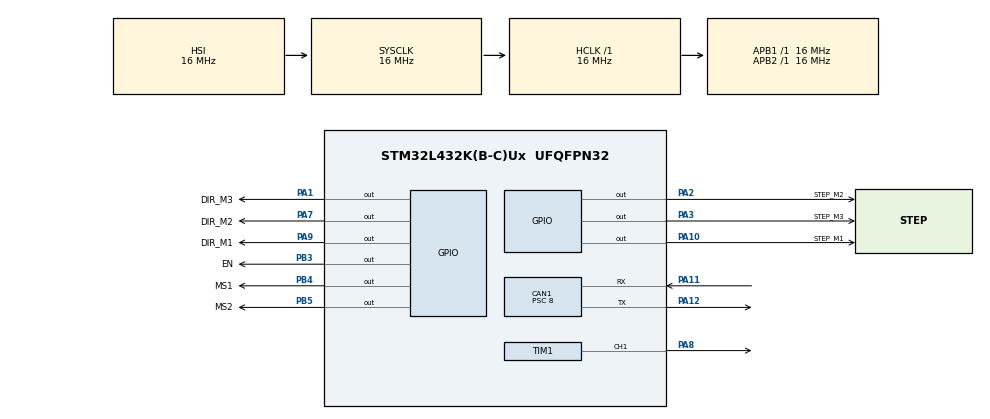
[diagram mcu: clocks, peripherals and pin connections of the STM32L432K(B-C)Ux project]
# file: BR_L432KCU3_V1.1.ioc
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CAN1.BS1=CAN_BS1_8TQ
CAN1.BS2=CAN_BS2_2TQ
CAN1.CalculateBaudRate=181818
CAN1.CalculateTimeBit=5500
CAN1.CalculateTimeQuantum=500.0
CAN1.Prescaler=8
Dma.Request0=TIM1_UP
Dma.TIM1_UP.0.Direction=DMA_MEMORY_TO_PERIPH
Dma.TIM1_UP.0.Instance=DMA1_Channel6
Dma.TIM1_UP.0.MemDataAlignment=DMA_MDATAALIGN_WORD
Dma.TIM1_UP.0.MemInc=DMA_MINC_ENABLE
Dma.TIM1_UP.0.Mode=DMA_NORMAL
Dma.TIM1_UP.0.PeriphDataAlignment=DMA_PDATAALIGN_WORD
Dma.TIM1_UP.0.PeriphInc=DMA_PINC_DISABLE
Dma.TIM1_UP.0.Priority=DMA_PRIORITY_LOW
Mcu.Family=STM32L4
Mcu.Name=STM32L432K(B-C)Ux
Mcu.Package=UFQFPN32
NVIC.CAN1_RX0_IRQn=true\:0\:0\:false\:false\:true\:true\:true\:true
NVIC.CAN1_RX1_IRQn=true\:0\:0\:false\:false\:true\:true\:true\:true
NVIC.CAN1_SCE_IRQn=true\:0\:0\:false\:false\:true\:true\:true\:true
NVIC.CAN1_TX_IRQn=true\:0\:0\:false\:false\:true\:true\:true\:true
NVIC.DMA1_Channel6_IRQn=true\:0\:0\:false\:false\:true\:false\:true\:true
NVIC.PriorityGroup=NVIC_PRIORITYGROUP_4
NVIC.TIM1_BRK_TIM15_IRQn=true\:0\:0\:false\:false\:true\:true\:true\:true
NVIC.TIM1_CC_IRQn=true\:0\:0\:false\:false\:true\:true\:true\:true
NVIC.TIM1_TRG_COM_IRQn=true\:0\:0\:false\:false\:true\:true\:true\:true
NVIC.TIM1_UP_TIM16_IRQn=true\:0\:0\:false\:false\:true\:true\:true\:true
PA1.GPIO_Label=DIR_M3
PA1.GPIO_ModeDefaultOutputPP=GPIO_MODE_OUTPUT_PP
PA1.GPIO_PuPd=GPIO_PULLUP
PA1.Signal=GPIO_Output
PA10.GPIO_Label=STEP_M1
PA10.GPIO_ModeDefaultOutputPP=GPIO_MODE_OUTPUT_PP
PA10.GPIO_PuPd=GPIO_PULLUP
PA10.Signal=GPIO_Output
PA11.Mode=CAN_Activate
PA11.Signal=CAN1_RX
PA12.Mode=CAN_Activate
PA12.Signal=CAN1_TX
PA2.GPIO_Label=STEP_M2
PA2.GPIO_ModeDefaultOutputPP=GPIO_MODE_OUTPUT_PP
PA2.GPIO_PuPd=GPIO_PULLUP
PA2.Signal=GPIO_Output
PA3.GPIO_Label=STEP_M3
PA3.Signal=GPIO_Output
PA7.GPIO_Label=DIR_M2
PA7.GPIO_ModeDefaultOutputPP=GPIO_MODE_OUTPUT_PP
PA7.GPIO_PuPd=GPIO_PULLUP
PA7.Signal=GPIO_Output
PA8.Signal=S_TIM1_CH1
PA9.GPIO_Label=DIR_M1
PA9.GPIO_ModeDefaultOutputPP=GPIO_MODE_OUTPUT_PP
PA9.GPIO_PuPd=GPIO_PULLUP
PA9.Signal=GPIO_Output
PB3\ (JTDO-TRACESWO).GPIO_Label=EN
PB3\ (JTDO-TRACESWO).Signal=GPIO_Output
PB4\ (NJTRST).GPIO_Label=MS1
PB4\ (NJTRST).GPIO_ModeDefaultOutputPP=GPIO_MODE_OUTPUT_PP
PB4\ (NJTRST).GPIO_PuPd=GPIO_PULLUP
PB4\ (NJTRST).Signal=GPIO_Output
PB5.GPIO_Label=MS2
PB5.GPIO_ModeDefaultOutputPP=GPIO_MODE_OUTPUT_PP
PB5.GPIO_PuPd=GPIO_PULLUP
PB5.Signal=GPIO_Output
ProjectManager.HeapSize=0x200
ProjectManager.StackSize=0x400
ProjectManager.TargetToolchain=STM32CubeIDE
RCC.AHBFreq_Value=16000000
RCC.APB1Freq_Value=16000000
RCC.APB1TimFreq_Value=16000000
RCC.APB2Freq_Value=16000000
RCC.APB2TimFreq_Value=16000000
RCC.CortexFreq_Value=16000000
RCC.HCLKFreq_Value=16000000
RCC.HSE_VALUE=8000000
RCC.HSI48_VALUE=48000000
RCC.HSI_VALUE=16000000
RCC.LSE_VALUE=32768
RCC.MSI_VALUE=4000000
RCC.SYSCLKFreq_VALUE=16000000
RCC.SYSCLKSource=RCC_SYSCLKSOURCE_HSI
RCC.VCOOutputFreq_Value=32000000
SH.S_TIM1_CH1.0=TIM1_CH1,PWM Generation1 CH1
TIM1.Channel-PWM\ Generation1\ CH1=TIM_CHANNEL_1
TIM1.Period=100-1
TIM1.Prescaler=16-1
TIM1.Pulse-PWM\ Generation1\ CH1=1
VP_TIM1_VS_ClockSourceINT.Mode=Internal
board=custom

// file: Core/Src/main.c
/* USER CODE BEGIN Header */
/**
  ******************************************************************************
  * @file           : main.c
  * @brief          : Main program body
  ******************************************************************************
  * @attention
  *
  * Copyright (c) 2022 STMicroelectronics.
  * All rights reserved.
  *
  * This software is licensed under terms that can be found in the LICENSE file
  * in the root directory of this software component.
  * If no LICENSE file comes with this software, it is provided AS-IS.
  *
  ******************************************************************************
  */
/* USER CODE END Header */
#include "main.h"

/* USER CODE BEGIN Includes */

#include <stdbool.h>
#define _USE_MATH_DEFINES // for C
#include <math.h>

#include "stm32l4xx_it.h" /*!< Fonctions d'interruptions */
#include "defineMotor.h"
#include "variable.h" /* Initialisation des variables */
#include "deplacement.h" /* Fonction deplacement */
#include "motor.h" /*!< Fonctions des moteurs */
#include "defineCan.h"
#include "can.h"
/* USER CODE END Includes */

 CAN_HandleTypeDef hcan1;

TIM_HandleTypeDef htim1;
DMA_HandleTypeDef hdma_tim1_up;

/* USER CODE BEGIN PV */
CAN_HandleTypeDef hcan_p;
uint8_t CanAdresse;

Motor_t motor1 = {
	.cnt = 0,
	.diviseur = 0,
	.DIAMETRE = DIAMETRE_ROUE * COEFF_DIAMETRE_1,
	.STEP_SIZE = (float)(360) / (float)(DIV_DRIVER_1 * 200),

	.PIN_STEP = STEP_M1_Pin,
	.PIN_DIR = DIR_M1_Pin,
	.PIN_STEP_TYPE = STEP_M1_GPIO_Port,
	.PIN_DIR_TYPE = DIR_M1_GPIO_Port,
	.pinStepState = RESET,
	.pinDirState = RESET,
};

Motor_t motor2 = {
	.cnt = 0,
	.diviseur = 0,
	.DIAMETRE = DIAMETRE_ROUE * COEFF_DIAMETRE_2,
	.STEP_SIZE = (float)(360) / (float)(DIV_DRIVER_2 * 200),

	.PIN_STEP = STEP_M2_Pin,
	.PIN_DIR = DIR_M2_Pin,
	.PIN_STEP_TYPE = STEP_M2_GPIO_Port,
	.PIN_DIR_TYPE = DIR_M2_GPIO_Port,
	.pinStepState = RESET,
	.pinDirState = RESET,
};

Motor_t motor3 = {
	.cnt = 0,
	.diviseur = 0,
	.DIAMETRE = DIAMETRE_ROUE * COEFF_DIAMETRE_3,
	.STEP_SIZE = (float)(360) / (float)(DIV_DRIVER_3 * 200),

	.PIN_STEP = STEP_M3_Pin,
	.PIN_DIR = DIR_M3_Pin,
	.PIN_STEP_TYPE = STEP_M3_GPIO_Port,
	.PIN_DIR_TYPE = DIR_M3_GPIO_Port,
	.pinStepState = RESET,
	.pinDirState = RESET,
};

/* USER CODE END PV */

void SystemClock_Config(void);
static void MX_GPIO_Init(void);
static void MX_DMA_Init(void);
static void MX_TIM1_Init(void);
static void MX_CAN1_Init(void);

int main(void)
{

  /* MCU Configuration--------------------------------------------------------*/

  /* Reset of all peripherals, Initializes the Flash interface and the Systick. */
  HAL_Init();

  /* Configure the system clock */
  SystemClock_Config();

  /* Initialize all configured peripherals */
  MX_GPIO_Init();
  MX_DMA_Init();
  MX_TIM1_Init();
  MX_CAN1_Init();
  /* USER CODE BEGIN 2 */

  CAN_Config(hcan1, CAN_ADDR_BASE_ROULANTE_E);

  /* USER CODE END 2 */

  /*
   * @brief clampe les moteurs et active les demi-steps
   */
  motor_en(RESET); //RESET = actif
  motor_micro_step(SET, RESET); //1/2 step

  /* Infinite loop */
  while (1)
  {
  }
}

void SystemClock_Config(void)
{
  RCC_OscInitTypeDef RCC_OscInitStruct = {0};
  RCC_ClkInitTypeDef RCC_ClkInitStruct = {0};

  /** Configure the main internal regulator output voltage
  */
  if (HAL_PWREx_ControlVoltageScaling(PWR_REGULATOR_VOLTAGE_SCALE1) != HAL_OK)
  {
    Error_Handler();
  }

  /** Initializes the RCC Oscillators according to the specified parameters
  * in the RCC_OscInitTypeDef structure.
  */
  RCC_OscInitStruct.OscillatorType = RCC_OSCILLATORTYPE_HSI;
  RCC_OscInitStruct.HSIState = RCC_HSI_ON;
  RCC_OscInitStruct.HSICalibrationValue = RCC_HSICALIBRATION_DEFAULT;
  RCC_OscInitStruct.PLL.PLLState = RCC_PLL_NONE;
  if (HAL_RCC_OscConfig(&RCC_OscInitStruct) != HAL_OK)
  {
    Error_Handler();
  }

  /** Initializes the CPU, AHB and APB buses clocks
  */
  RCC_ClkInitStruct.ClockType = RCC_CLOCKTYPE_HCLK|RCC_CLOCKTYPE_SYSCLK
                              |RCC_CLOCKTYPE_PCLK1|RCC_CLOCKTYPE_PCLK2;
  RCC_ClkInitStruct.SYSCLKSource = RCC_SYSCLKSOURCE_HSI;
  RCC_ClkInitStruct.AHBCLKDivider = RCC_SYSCLK_DIV1;
  RCC_ClkInitStruct.APB1CLKDivider = RCC_HCLK_DIV1;
  RCC_ClkInitStruct.APB2CLKDivider = RCC_HCLK_DIV1;

  if (HAL_RCC_ClockConfig(&RCC_ClkInitStruct, FLASH_LATENCY_0) != HAL_OK)
  {
    Error_Handler();
  }
}

static void MX_CAN1_Init(void)
{

  hcan1.Instance = CAN1;
  hcan1.Init.Prescaler = 8;
  hcan1.Init.Mode = CAN_MODE_NORMAL;
  hcan1.Init.SyncJumpWidth = CAN_SJW_1TQ;
  hcan1.Init.TimeSeg1 = CAN_BS1_8TQ;
  hcan1.Init.TimeSeg2 = CAN_BS2_2TQ;
  hcan1.Init.TimeTriggeredMode = DISABLE;
  hcan1.Init.AutoBusOff = DISABLE;
  hcan1.Init.AutoWakeUp = DISABLE;
  hcan1.Init.AutoRetransmission = DISABLE;
  hcan1.Init.ReceiveFifoLocked = DISABLE;
  hcan1.Init.TransmitFifoPriority = DISABLE;
  if (HAL_CAN_Init(&hcan1) != HAL_OK)
  {
    Error_Handler();
  }

}

static void MX_TIM1_Init(void)
{

  TIM_ClockConfigTypeDef sClockSourceConfig = {0};
  TIM_MasterConfigTypeDef sMasterConfig = {0};
  TIM_OC_InitTypeDef sConfigOC = {0};
  TIM_BreakDeadTimeConfigTypeDef sBreakDeadTimeConfig = {0};

  htim1.Instance = TIM1;
  htim1.Init.Prescaler = 16-1;
  htim1.Init.CounterMode = TIM_COUNTERMODE_UP;
  htim1.Init.Period = 100-1;
  htim1.Init.ClockDivision = TIM_CLOCKDIVISION_DIV1;
  htim1.Init.RepetitionCounter = 0;
  htim1.Init.AutoReloadPreload = TIM_AUTORELOAD_PRELOAD_DISABLE;
  if (HAL_TIM_Base_Init(&htim1) != HAL_OK)
  {
    Error_Handler();
  }
  sClockSourceConfig.ClockSource = TIM_CLOCKSOURCE_INTERNAL;
  if (HAL_TIM_ConfigClockSource(&htim1, &sClockSourceConfig) != HAL_OK)
  {
    Error_Handler();
  }
  if (HAL_TIM_PWM_Init(&htim1) != HAL_OK)
  {
    Error_Handler();
  }
  sMasterConfig.MasterOutputTrigger = TIM_TRGO_RESET;
  sMasterConfig.MasterOutputTrigger2 = TIM_TRGO2_RESET;
  sMasterConfig.MasterSlaveMode = TIM_MASTERSLAVEMODE_DISABLE;
  if (HAL_TIMEx_MasterConfigSynchronization(&htim1, &sMasterConfig) != HAL_OK)
  {
    Error_Handler();
  }
  sConfigOC.OCMode = TIM_OCMODE_PWM1;
  sConfigOC.Pulse = 1;
  sConfigOC.OCPolarity = TIM_OCPOLARITY_HIGH;
  sConfigOC.OCNPolarity = TIM_OCNPOLARITY_HIGH;
  sConfigOC.OCFastMode = TIM_OCFAST_DISABLE;
  sConfigOC.OCIdleState = TIM_OCIDLESTATE_RESET;
  sConfigOC.OCNIdleState = TIM_OCNIDLESTATE_RESET;
  if (HAL_TIM_PWM_ConfigChannel(&htim1, &sConfigOC, TIM_CHANNEL_1) != HAL_OK)
  {
    Error_Handler();
  }
  sBreakDeadTimeConfig.OffStateRunMode = TIM_OSSR_DISABLE;
  sBreakDeadTimeConfig.OffStateIDLEMode = TIM_OSSI_DISABLE;
  sBreakDeadTimeConfig.LockLevel = TIM_LOCKLEVEL_OFF;
  sBreakDeadTimeConfig.DeadTime = 0;
  sBreakDeadTimeConfig.BreakState = TIM_BREAK_DISABLE;
  sBreakDeadTimeConfig.BreakPolarity = TIM_BREAKPOLARITY_HIGH;
  sBreakDeadTimeConfig.BreakFilter = 0;
  sBreakDeadTimeConfig.Break2State = TIM_BREAK2_DISABLE;
  sBreakDeadTimeConfig.Break2Polarity = TIM_BREAK2POLARITY_HIGH;
  sBreakDeadTimeConfig.Break2Filter = 0;
  sBreakDeadTimeConfig.AutomaticOutput = TIM_AUTOMATICOUTPUT_DISABLE;
  if (HAL_TIMEx_ConfigBreakDeadTime(&htim1, &sBreakDeadTimeConfig) != HAL_OK)
  {
    Error_Handler();
  }
  HAL_TIM_MspPostInit(&htim1);

}

static void MX_DMA_Init(void)
{

  /* DMA controller clock enable */
  __HAL_RCC_DMA1_CLK_ENABLE();

  /* DMA interrupt init */
  /* DMA1_Channel6_IRQn interrupt configuration */
  HAL_NVIC_SetPriority(DMA1_Channel6_IRQn, 0, 0);
  HAL_NVIC_EnableIRQ(DMA1_Channel6_IRQn);

}

static void MX_GPIO_Init(void)
{
  GPIO_InitTypeDef GPIO_InitStruct = {0};

  /* GPIO Ports Clock Enable */
  __HAL_RCC_GPIOA_CLK_ENABLE();
  __HAL_RCC_GPIOB_CLK_ENABLE();

  /*Configure GPIO pin Output Level */
  HAL_GPIO_WritePin(GPIOA, DIR_M3_Pin|STEP_M2_Pin|STEP_M3_Pin|DIR_M2_Pin
                          |DIR_M1_Pin|STEP_M1_Pin, GPIO_PIN_RESET);

  /*Configure GPIO pin Output Level */
  HAL_GPIO_WritePin(GPIOB, EN_Pin|MS1_Pin|MS2_Pin, GPIO_PIN_RESET);

  /*Configure GPIO pins : DIR_M3_Pin STEP_M2_Pin DIR_M2_Pin DIR_M1_Pin
                           STEP_M1_Pin */
  GPIO_InitStruct.Pin = DIR_M3_Pin|STEP_M2_Pin|DIR_M2_Pin|DIR_M1_Pin
                          |STEP_M1_Pin;
  GPIO_InitStruct.Mode = GPIO_MODE_OUTPUT_PP;
  GPIO_InitStruct.Pull = GPIO_PULLUP;
  GPIO_InitStruct.Speed = GPIO_SPEED_FREQ_LOW;
  HAL_GPIO_Init(GPIOA, &GPIO_InitStruct);

  /*Configure GPIO pin : STEP_M3_Pin */
  GPIO_InitStruct.Pin = STEP_M3_Pin;
  GPIO_InitStruct.Mode = GPIO_MODE_OUTPUT_PP;
  GPIO_InitStruct.Pull = GPIO_NOPULL;
  GPIO_InitStruct.Speed = GPIO_SPEED_FREQ_LOW;
  HAL_GPIO_Init(STEP_M3_GPIO_Port, &GPIO_InitStruct);

  /*Configure GPIO pin : EN_Pin */
  GPIO_InitStruct.Pin = EN_Pin;
  GPIO_InitStruct.Mode = GPIO_MODE_OUTPUT_PP;
  GPIO_InitStruct.Pull = GPIO_NOPULL;
  GPIO_InitStruct.Speed = GPIO_SPEED_FREQ_LOW;
  HAL_GPIO_Init(EN_GPIO_Port, &GPIO_InitStruct);

  /*Configure GPIO pins : MS1_Pin MS2_Pin */
  GPIO_InitStruct.Pin = MS1_Pin|MS2_Pin;
  GPIO_InitStruct.Mode = GPIO_MODE_OUTPUT_PP;
  GPIO_InitStruct.Pull = GPIO_PULLUP;
  GPIO_InitStruct.Speed = GPIO_SPEED_FREQ_LOW;
  HAL_GPIO_Init(GPIOB, &GPIO_InitStruct);

}

void Error_Handler(void)
{
  __disable_irq();
  while (1)
  {
  }
}
